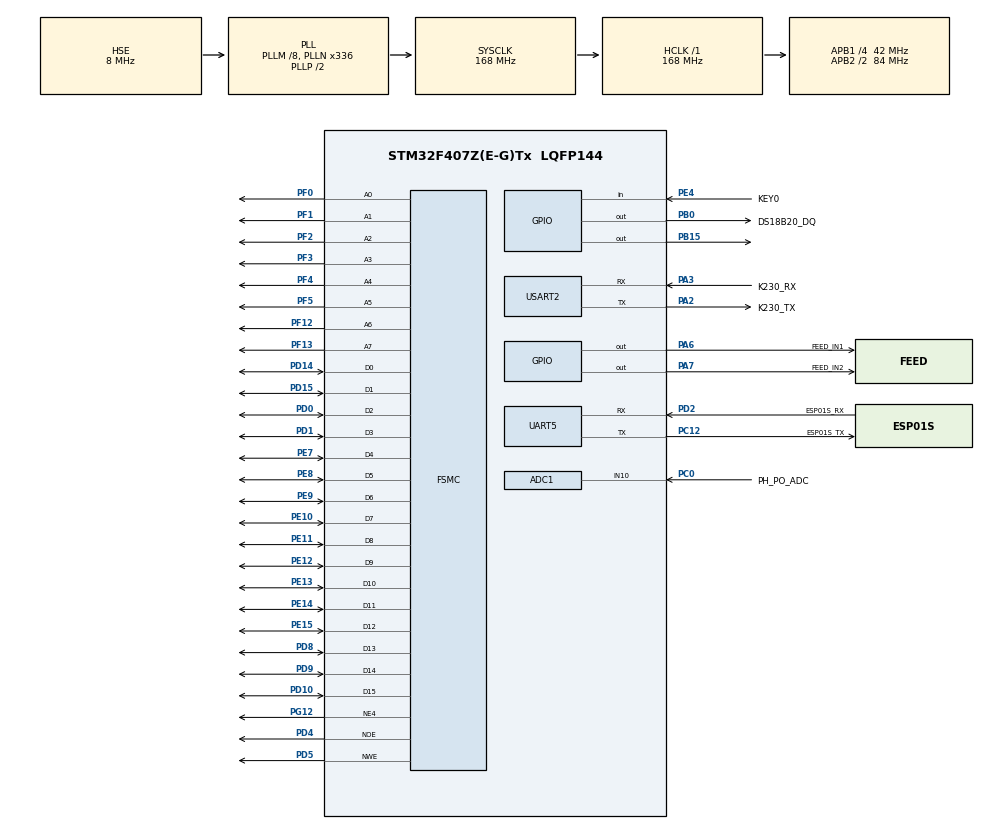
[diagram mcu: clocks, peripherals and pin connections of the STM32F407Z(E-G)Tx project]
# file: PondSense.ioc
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ADC1.Channel-0\#ChannelRegularConversion=ADC_CHANNEL_10
ADC1.NbrOfConversion=1
ADC1.NbrOfConversionFlag=1
ADC1.Rank-0\#ChannelRegularConversion=1
ADC1.SamplingTime-0\#ChannelRegularConversion=ADC_SAMPLETIME_480CYCLES
ADC1.ScanConvMode=DISABLE
ADC1.master=1
Dma.Request0=USART2_RX
Dma.Request1=UART5_RX
Dma.UART5_RX.1.Direction=DMA_PERIPH_TO_MEMORY
Dma.UART5_RX.1.FIFOMode=DMA_FIFOMODE_DISABLE
Dma.UART5_RX.1.Instance=DMA1_Stream0
Dma.UART5_RX.1.MemDataAlignment=DMA_MDATAALIGN_BYTE
Dma.UART5_RX.1.MemInc=DMA_MINC_ENABLE
Dma.UART5_RX.1.Mode=DMA_CIRCULAR
Dma.UART5_RX.1.PeriphDataAlignment=DMA_PDATAALIGN_BYTE
Dma.UART5_RX.1.PeriphInc=DMA_PINC_DISABLE
Dma.UART5_RX.1.Priority=DMA_PRIORITY_LOW
Dma.USART2_RX.0.Direction=DMA_PERIPH_TO_MEMORY
Dma.USART2_RX.0.FIFOMode=DMA_FIFOMODE_DISABLE
Dma.USART2_RX.0.Instance=DMA1_Stream5
Dma.USART2_RX.0.MemDataAlignment=DMA_MDATAALIGN_BYTE
Dma.USART2_RX.0.MemInc=DMA_MINC_ENABLE
Dma.USART2_RX.0.Mode=DMA_CIRCULAR
Dma.USART2_RX.0.PeriphDataAlignment=DMA_PDATAALIGN_BYTE
Dma.USART2_RX.0.PeriphInc=DMA_PINC_DISABLE
Dma.USART2_RX.0.Priority=DMA_PRIORITY_LOW
FSMC.BusTurnAroundDuration4=0
FSMC.DataSetupTime4=60
FSMC.ExtendedAddressSetupTime4=9
FSMC.ExtendedBusTurnAroundDuration4=0
FSMC.ExtendedDataSetupTime4=9
FSMC.ExtendedMode4=FSMC_EXTENDED_MODE_ENABLE
FSMC.WriteOperation4=FSMC_WRITE_OPERATION_ENABLE
Mcu.Family=STM32F4
Mcu.Name=STM32F407Z(E-G)Tx
Mcu.Package=LQFP144
NVIC.DMA1_Stream0_IRQn=true\:0\:0\:false\:false\:true\:false\:true\:true
NVIC.DMA1_Stream5_IRQn=true\:0\:0\:false\:false\:true\:false\:true\:true
NVIC.PriorityGroup=NVIC_PRIORITYGROUP_4
NVIC.UART5_IRQn=true\:0\:0\:false\:false\:true\:true\:true\:true
NVIC.USART2_IRQn=true\:0\:0\:false\:false\:true\:true\:true\:true
PA13.Mode=Serial_Wire
PA13.Signal=SYS_JTMS-SWDIO
PA14.Mode=Serial_Wire
PA14.Signal=SYS_JTCK-SWCLK
PA2.GPIO_Label=K230_TX
PA2.Mode=Asynchronous
PA2.Signal=USART2_TX
PA3.GPIO_Label=K230_RX
PA3.Mode=Asynchronous
PA3.Signal=USART2_RX
PA6.GPIO_Label=FEED_IN1
PA6.Signal=GPIO_Output
PA7.GPIO_Label=FEED_IN2
PA7.Signal=GPIO_Output
PB0.GPIO_Label=DS18B20_DQ
PB0.GPIO_ModeDefaultOutputPP=GPIO_MODE_OUTPUT_OD
PB0.GPIO_PuPd=GPIO_NOPULL
PB0.PinState=GPIO_PIN_SET
PB0.Signal=GPIO_Output
PB15.GPIO_Speed=GPIO_SPEED_FREQ_HIGH
PB15.Signal=GPIO_Output
PC0.GPIO_Label=PH_PO_ADC
PC0.Signal=ADCx_IN10
PC12.GPIO_Label=ESP01S_TX
PC12.Mode=Asynchronous
PC12.Signal=UART5_TX
PD0.Signal=FSMC_D2_DA2
PD1.Signal=FSMC_D3_DA3
PD10.Signal=FSMC_D15_DA15
PD14.Signal=FSMC_D0_DA0
PD15.Signal=FSMC_D1_DA1
PD2.GPIO_Label=ESP01S_RX
PD2.Mode=Asynchronous
PD2.Signal=UART5_RX
PD4.Signal=FSMC_NOE
PD5.Signal=FSMC_NWE
PD8.Signal=FSMC_D13_DA13
PD9.Signal=FSMC_D14_DA14
PE4.GPIO_Label=KEY0
PE4.GPIO_PuPd=GPIO_PULLDOWN
PE4.Signal=GPIO_Input
PE10.Signal=FSMC_D7_DA7
PE11.Signal=FSMC_D8_DA8
PE12.Signal=FSMC_D9_DA9
PE13.Signal=FSMC_D10_DA10
PE14.Signal=FSMC_D11_DA11
PE15.Signal=FSMC_D12_DA12
PE7.Signal=FSMC_D4_DA4
PE8.Signal=FSMC_D5_DA5
PE9.Signal=FSMC_D6_DA6
PF0.Signal=FSMC_A0
PF1.Signal=FSMC_A1
PF12.Signal=FSMC_A6
PF13.Signal=FSMC_A7
PF2.Signal=FSMC_A2
PF3.Signal=FSMC_A3
PF4.Signal=FSMC_A4
PF5.Signal=FSMC_A5
PG12.Mode=NorPsramChipSelect4_4
PG12.Signal=FSMC_NE4
PH0-OSC_IN.Mode=HSE-External-Oscillator
PH0-OSC_IN.Signal=RCC_OSC_IN
PH1-OSC_OUT.Mode=HSE-External-Oscillator
PH1-OSC_OUT.Signal=RCC_OSC_OUT
ProjectManager.HeapSize=0x200
ProjectManager.StackSize=0x400
ProjectManager.TargetToolchain=MDK-ARM V5.32
RCC.48MHZClocksFreq_Value=84000000
RCC.AHBFreq_Value=168000000
RCC.APB1CLKDivider=RCC_HCLK_DIV4
RCC.APB1Freq_Value=42000000
RCC.APB1TimFreq_Value=84000000
RCC.APB2CLKDivider=RCC_HCLK_DIV2
RCC.APB2Freq_Value=84000000
RCC.APB2TimFreq_Value=168000000
RCC.CortexFreq_Value=168000000
RCC.HCLKFreq_Value=168000000
RCC.HSE_VALUE=8000000
RCC.HSI_VALUE=16000000
RCC.LSE_VALUE=32768
RCC.PLLM=8
RCC.PLLN=336
RCC.PLLSourceVirtual=RCC_PLLSOURCE_HSE
RCC.SYSCLKFreq_VALUE=168000000
RCC.SYSCLKSource=RCC_SYSCLKSOURCE_PLLCLK
RCC.VCOOutputFreq_Value=336000000
SH.ADCx_IN10.0=ADC1_IN10,IN10
SH.FSMC_A0.0=FSMC_A0,8b-a4
SH.FSMC_A1.0=FSMC_A1,8b-a4
SH.FSMC_A2.0=FSMC_A2,8b-a4
SH.FSMC_A3.0=FSMC_A3,8b-a4
SH.FSMC_A4.0=FSMC_A4,8b-a4
SH.FSMC_A5.0=FSMC_A5,8b-a4
SH.FSMC_A6.0=FSMC_A6,8b-a4
SH.FSMC_A7.0=FSMC_A7,8b-a4
SH.FSMC_D0_DA0.0=FSMC_D0,16b-d4
SH.FSMC_D10_DA10.0=FSMC_D10,16b-d4
SH.FSMC_D11_DA11.0=FSMC_D11,16b-d4
SH.FSMC_D12_DA12.0=FSMC_D12,16b-d4
SH.FSMC_D13_DA13.0=FSMC_D13,16b-d4
SH.FSMC_D14_DA14.0=FSMC_D14,16b-d4
SH.FSMC_D15_DA15.0=FSMC_D15,16b-d4
SH.FSMC_D1_DA1.0=FSMC_D1,16b-d4
SH.FSMC_D2_DA2.0=FSMC_D2,16b-d4
SH.FSMC_D3_DA3.0=FSMC_D3,16b-d4
SH.FSMC_D4_DA4.0=FSMC_D4,16b-d4
SH.FSMC_D5_DA5.0=FSMC_D5,16b-d4
SH.FSMC_D6_DA6.0=FSMC_D6,16b-d4
SH.FSMC_D7_DA7.0=FSMC_D7,16b-d4
SH.FSMC_D8_DA8.0=FSMC_D8,16b-d4
SH.FSMC_D9_DA9.0=FSMC_D9,16b-d4
SH.FSMC_NOE.0=FSMC_NOE,Sram4
SH.FSMC_NWE.0=FSMC_NWE,Sram4
TIM2.Prescaler=83
UART5.VirtualMode=Asynchronous
USART2.VirtualMode=VM_ASYNC
VP_TIM2_VS_ClockSourceINT.Mode=Internal
board=custom

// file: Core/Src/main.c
/* USER CODE BEGIN Header */
/**
  ******************************************************************************
  * @file           : main.c
  * @brief          : Main program body
  ******************************************************************************
  * @attention
  *
  * Copyright (c) 2026 STMicroelectronics.
  * All rights reserved.
  *
  * This software is licensed under terms that can be found in the LICENSE file
  * in the root directory of this software component.
  * If no LICENSE file comes with this software, it is provided AS-IS.
  *
  ******************************************************************************
  */
/* USER CODE END Header */
#include "main.h"
#include "adc.h"
#include "dma.h"
#include "tim.h"
#include "usart.h"
#include "gpio.h"
#include "fsmc.h"

/* USER CODE BEGIN Includes */
#include "pondsense.h"
/* USER CODE END Includes */

/* USER CODE BEGIN PV */
volatile uint32_t reset_cause_flags;
volatile uint32_t reset_cause;
/* USER CODE END PV */

void SystemClock_Config(void);

int main(void)
{

  /* USER CODE BEGIN 1 */
  /* 在 HAL_Init 清除状态前保存复位来源，用于区分看门狗、软件和上电复位。 */
  reset_cause_flags = RCC->CSR;
  if ((reset_cause_flags & RCC_CSR_IWDGRSTF) != 0U)
  {
    reset_cause = 4U;
  }
  else if ((reset_cause_flags & RCC_CSR_SFTRSTF) != 0U)
  {
    reset_cause = 3U;
  }
  else if ((reset_cause_flags & RCC_CSR_PINRSTF) != 0U)
  {
    reset_cause = 2U;
  }
  else if ((reset_cause_flags &
            (RCC_CSR_PORRSTF | RCC_CSR_BORRSTF)) != 0U)
  {
    reset_cause = 1U;
  }
  __HAL_RCC_CLEAR_RESET_FLAGS();
  /* USER CODE END 1 */

  /* MCU Configuration--------------------------------------------------------*/

  /* Reset of all peripherals, Initializes the Flash interface and the Systick. */
  HAL_Init();

  /* Configure the system clock */
  SystemClock_Config();

  /* Initialize all configured peripherals */
  MX_GPIO_Init();
  MX_DMA_Init();
  MX_USART2_UART_Init();
  MX_UART5_Init();
  MX_ADC1_Init();
  MX_TIM2_Init();
  MX_FSMC_Init();
  /* USER CODE BEGIN 2 */
  /* CubeMX 外设初始化完成后进入 PondSense 应用层初始化。 */
  PondSense_Init();
  /* USER CODE END 2 */

  /* Infinite loop */
  while (1)
  {

    /* USER CODE BEGIN 3 */
    /* 应用层内部自行推进投喂、传感器、视觉、显示和通信状态机。 */
    PondSense_Process();
  }
  /* USER CODE END 3 */
}

void SystemClock_Config(void)
{
  RCC_OscInitTypeDef RCC_OscInitStruct = {0};
  RCC_ClkInitTypeDef RCC_ClkInitStruct = {0};

  /** Configure the main internal regulator output voltage
  */
  __HAL_RCC_PWR_CLK_ENABLE();
  __HAL_PWR_VOLTAGESCALING_CONFIG(PWR_REGULATOR_VOLTAGE_SCALE1);

  /** Initializes the RCC Oscillators according to the specified parameters
  * in the RCC_OscInitTypeDef structure.
  */
  RCC_OscInitStruct.OscillatorType = RCC_OSCILLATORTYPE_HSE;
  RCC_OscInitStruct.HSEState = RCC_HSE_ON;
  RCC_OscInitStruct.PLL.PLLState = RCC_PLL_ON;
  RCC_OscInitStruct.PLL.PLLSource = RCC_PLLSOURCE_HSE;
  RCC_OscInitStruct.PLL.PLLM = 8;
  RCC_OscInitStruct.PLL.PLLN = 336;
  RCC_OscInitStruct.PLL.PLLP = RCC_PLLP_DIV2;
  RCC_OscInitStruct.PLL.PLLQ = 4;
  if (HAL_RCC_OscConfig(&RCC_OscInitStruct) != HAL_OK)
  {
    Error_Handler();
  }

  /** Initializes the CPU, AHB and APB buses clocks
  */
  RCC_ClkInitStruct.ClockType = RCC_CLOCKTYPE_HCLK|RCC_CLOCKTYPE_SYSCLK
                              |RCC_CLOCKTYPE_PCLK1|RCC_CLOCKTYPE_PCLK2;
  RCC_ClkInitStruct.SYSCLKSource = RCC_SYSCLKSOURCE_PLLCLK;
  RCC_ClkInitStruct.AHBCLKDivider = RCC_SYSCLK_DIV1;
  RCC_ClkInitStruct.APB1CLKDivider = RCC_HCLK_DIV4;
  RCC_ClkInitStruct.APB2CLKDivider = RCC_HCLK_DIV2;

  if (HAL_RCC_ClockConfig(&RCC_ClkInitStruct, FLASH_LATENCY_5) != HAL_OK)
  {
    Error_Handler();
  }
}

/* USER CODE BEGIN 4 */
void HAL_UARTEx_RxEventCallback(UART_HandleTypeDef *uart, uint16_t size)
{
  PondSense_RxEventCallback(uart, size);
}

void HAL_UART_ErrorCallback(UART_HandleTypeDef *uart)
{
  PondSense_UartErrorCallback(uart);
}
/* USER CODE END 4 */

void Error_Handler(void)
{
  /* USER CODE BEGIN Error_Handler_Debug */
  PondSense_EmergencyStop();
  __disable_irq();
  while (1)
  {
  }
  /* USER CODE END Error_Handler_Debug */
}
#ifdef USE_FULL_ASSERT
/**
  * @brief  Reports the name of the source file and the source line number
  *         where the assert_param error has occurred.
  * @param  file: pointer to the source file name
  * @param  line: assert_param error line source number
  * @retval None
  */
void assert_failed(uint8_t *file, uint32_t line)
{
  /* USER CODE BEGIN 6 */
  (void)file;
  (void)line;
  /* USER CODE END 6 */
}
#endif /* USE_FULL_ASSERT */
